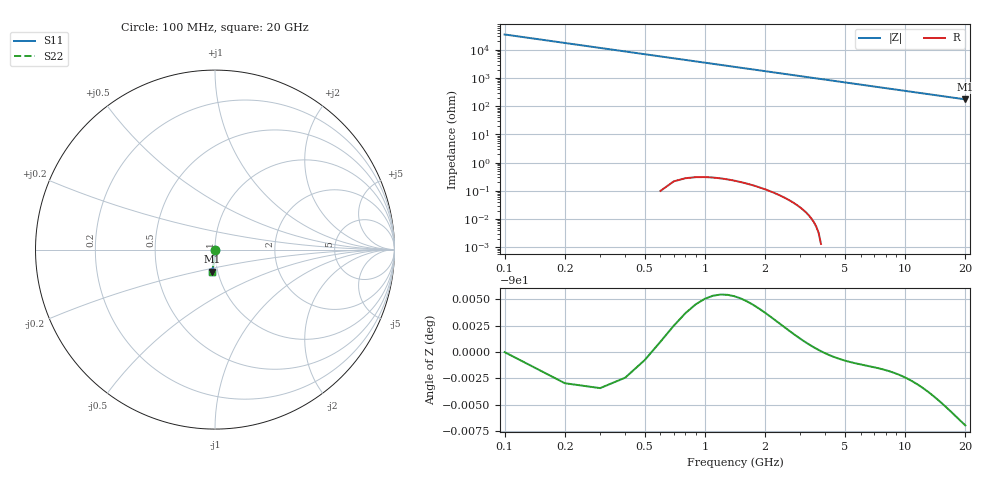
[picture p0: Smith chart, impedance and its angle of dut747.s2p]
! Touchstone file exported from HFSS 2026.1.0
!  File:  C:/ffzhzh/LocalFiles/Ansys_Project_Files/temp_train_TSV_747_1783182914_18472.aedt
!  Generated:  12:36:26 AM Jul  5, 2026
!  Design:  TSV
!  Project:  temp_train_TSV_747_1783182914_18472
! Variables:
!  h_bsmrdl = 2um
!  h_ox = 20um
!  h_rdl = 5um
!  h_sub = 61.36um
!  h_tmrdl = 5um
!  h_tsv = 61.36um
!  h_via = 3um
!  l_bsmrdl = 300um
!  l_sub = 429.66um
!  l_tmrdl = 200um
!  m_sub = 200um
!  pitch = 32.82um
!  r_tsv = 14.83um
!  s_tmrdl = 10um
!  w_bsmrdl = 18um
!  w_sub = 500um
!  w_tmrdl = 12um
!  x_tsv_center1 = 206um
!  x_tsv_center2 = 524um
!  x_tsv_center3 = 736um
!  x_tsv_center4 = 1054um
!  x_tsv_center5 = 1266um
!  x_tsv_center6 = 1584um
# GHz S MA R 50.000000
! Terminal data exported
! Port[1] = TSV1_1_T1
! Port[2] = TSV1_1_T2
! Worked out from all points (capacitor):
!   200 points, 100 MHz to 20 GHz, reference 50 ohm
!   read as one part in shunt: C = 45.5 fF near 200 MHz
!   lowest |Z| = 175 ohm at 20 GHz (marker M1)
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0.1  0.0005798 -82.6  0.9999 -0.0  0.9999 -0.0  0.0005798 -82.6
! Gamma 0 0 0 0
! Port Impedance 50 0 50 0
0.2  0.001159 -85.5  0.9999 -0.1  0.9999 -0.1  0.001159 -85.5
0.3  0.001749 -86.3  0.9999 -0.1  0.9999 -0.1  0.001749 -86.3
0.4  0.002348 -86.6  0.9999 -0.2  0.9999 -0.2  0.002348 -86.6
0.5  0.002955 -86.8  0.9998 -0.2  0.9998 -0.2  0.002955 -86.8
0.7  0.004186 -87.3  0.9998 -0.3  0.9998 -0.3  0.004186 -87.3
0.8  0.004806 -87.5  0.9997 -0.4  0.9997 -0.4  0.004806 -87.5
1  0.006049 -87.8  0.9997 -0.5  0.9997 -0.5  0.006049 -87.8
1.2  0.007295 -88.2  0.9997 -0.6  0.9997 -0.6  0.007295 -88.2
1.4  0.00854 -88.5  0.9996 -0.7  0.9996 -0.7  0.00854 -88.5
1.7  0.01041 -88.9  0.9996 -0.8  0.9996 -0.8  0.01041 -88.9
2  0.01227 -89.2  0.9995 -0.9  0.9995 -0.9  0.01227 -89.2
2.7  0.01663 -89.8  0.9994 -1.3  0.9994 -1.3  0.01663 -89.8
3.5  0.02161 -90.3  0.9993 -1.6  0.9993 -1.6  0.02161 -90.3
4.2  0.02597 -90.8  0.9991 -2.0  0.9991 -2.0  0.02597 -90.8
5  0.03096 -91.2  0.9989 -2.3  0.9989 -2.3  0.03096 -91.2
6.8  0.04219 -92.2  0.9984 -3.2  0.9984 -3.2  0.04219 -92.2
8.3  0.05155 -93.0  0.9979 -3.8  0.9979 -3.8  0.05155 -93.0
10.1  0.06278 -93.9  0.9972 -4.7  0.9972 -4.7  0.06278 -93.9
13.4  0.08328 -95.5  0.9955 -6.2  0.9955 -6.2  0.08328 -95.5
16.7  0.1037 -97.1  0.9935 -7.7  0.9935 -7.7  0.1037 -97.1
20  0.1239 -98.6  0.991 -9.2  0.991 -9.2  0.1239 -98.6
